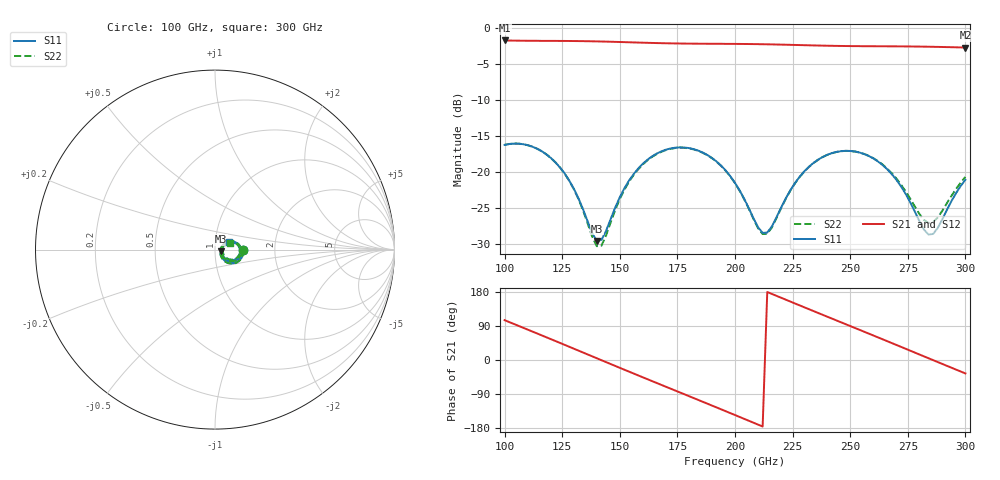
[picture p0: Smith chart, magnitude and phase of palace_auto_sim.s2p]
#  GHZ S DB R 50
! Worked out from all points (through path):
!   101 points, 100 GHz to 300 GHz, reference 50 ohm
!   highest |S21| = -1.76 dB at 100 GHz (marker M1); lowest = -2.7 dB at 300 GHz (marker M2)
!   group delay of S21, straight-line fit = 6.95 ps
!   lowest |S11| = -29.5 dB at 140 GHz (marker M3), VSWR 1.07, Z = 53.3 - j0.994 ohm
!   |S11| at or under -10 dB: start of sweep to end of sweep
!   |S22| runs from -30.3 to -16.1 dB; largest |S21 - S12| = 1.4e-13
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100  -16.23 0.0  -1.76 105.1  -1.76 105.1  -16.23 -0.4
108  -16.14 -15.5  -1.80 85.2  -1.80 85.2  -16.13 -16.1
116  -17.09 -30.5  -1.81 65.3  -1.81 65.3  -17.09 -31.4
126  -20.18 -46.2  -1.83 40.1  -1.83 40.1  -20.20 -47.7
134  -25.12 -47.1  -1.86 19.8  -1.86 19.8  -25.28 -49.9
140  -29.54 -16.2  -1.89 4.6  -1.89 4.6  -30.27 -18.3
142  -29.42 2.0  -1.91 -0.4  -1.91 -0.4  -30.22 2.0
152  -22.25 31.4  -1.99 -25.7  -1.99 -25.7  -22.44 33.2
168  -17.14 9.2  -2.14 -65.6  -2.14 -65.6  -17.20 10.2
176  -16.58 -5.5  -2.18 -85.4  -2.18 -85.4  -16.63 -4.8
184  -17.02 -20.2  -2.21 -105.3  -2.21 -105.3  -17.06 -19.6
200  -21.49 -42.6  -2.24 -145.3  -2.24 -145.3  -21.54 -42.2
210  -27.65 -26.0  -2.27 -170.5  -2.27 -170.5  -27.78 -25.6
214  -28.39 0.8  -2.29 179.4  -2.29 179.4  -28.55 1.8
224  -22.53 29.0  -2.37 154.3  -2.37 154.3  -22.59 30.3
234  -18.75 19.1  -2.45 129.3  -2.45 129.3  -18.78 20.5
250  -17.08 -8.5  -2.54 89.6  -2.54 89.6  -17.08 -6.5
258  -17.77 -22.7  -2.56 69.8  -2.56 69.8  -17.74 -20.1
268  -20.27 -37.5  -2.57 44.8  -2.57 44.8  -20.14 -33.6
284  -28.67 -10.8  -2.63 4.6  -2.63 4.6  -27.07 -8.0
288  -27.75 14.5  -2.65 -5.4  -2.65 -5.4  -26.30 11.7
300  -21.08 28.0  -2.74 -35.5  -2.74 -35.5  -20.68 24.3
